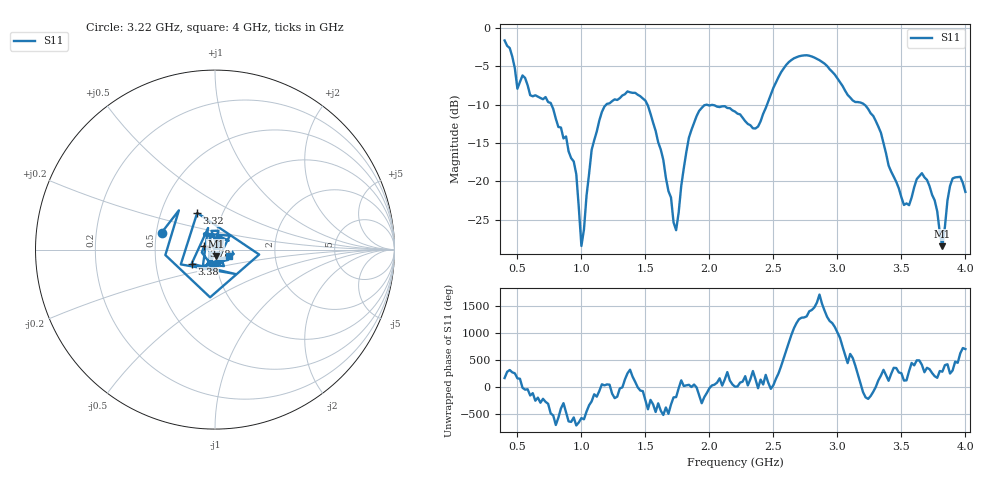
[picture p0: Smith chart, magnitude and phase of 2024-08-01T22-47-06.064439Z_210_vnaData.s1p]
!Created with skrf (http://scikit-rf.org).
# Hz S RI R 50.0
!freq ReS11 ImS11
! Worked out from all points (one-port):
!   181 points, 400 MHz to 4 GHz, reference 50 ohm
!   lowest |S11| = -28.5 dB at 3.82 GHz (marker M1), VSWR 1.08, Z = 50.3 - j3.78 ohm
!   |S11| at or under -10 dB: 1.516 GHz to 1.977 GHz (460.2 MHz wide, 26.4 % of centre); 1.982 GHz to 2.45 GHz (467.7 MHz wide, 21.1 % of centre); 3.212 GHz to end of sweep (the widest 3 of 4)
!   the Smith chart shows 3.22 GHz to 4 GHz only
!   S11 on the Smith chart (normalised r, x): 3.22 GHz: 0.53, +0.11; 3.32 GHz: 0.76, +0.33; 3.38 GHz: 0.76, -0.12; 3.78 GHz: 0.88, +0.03; 4 GHz: 1.16, -0.09
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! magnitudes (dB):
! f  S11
! 400 MHz  -1.6
! 500 MHz  -7.9
! 720 MHz  -9.0
! 860 MHz  -14.4
! 960 MHz  -19.1
! 1 GHz  -28.4
! 1.08 GHz  -15.9
! 1.18 GHz  -10.2
! 1.3 GHz  -9.1
! 1.5 GHz  -9.5
! 1.64 GHz  -17.2
! 1.72 GHz  -25.4
! 1.76 GHz  -24.1
! 1.84 GHz  -14.3
! 1.92 GHz  -10.8
! 2.2 GHz  -10.9
! 2.38 GHz  -12.8
! 2.66 GHz  -3.9
! 3.1 GHz  -9.1
! 3.22 GHz  -10.1
! 3.32 GHz  -12.9
! 3.38 GHz  -16.3
! 3.56 GHz  -23.1
! 3.66 GHz  -18.9
! 3.78 GHz  -23.9
! 3.82 GHz  -28.5
! 3.9 GHz  -19.6
! 4 GHz  -21.4
